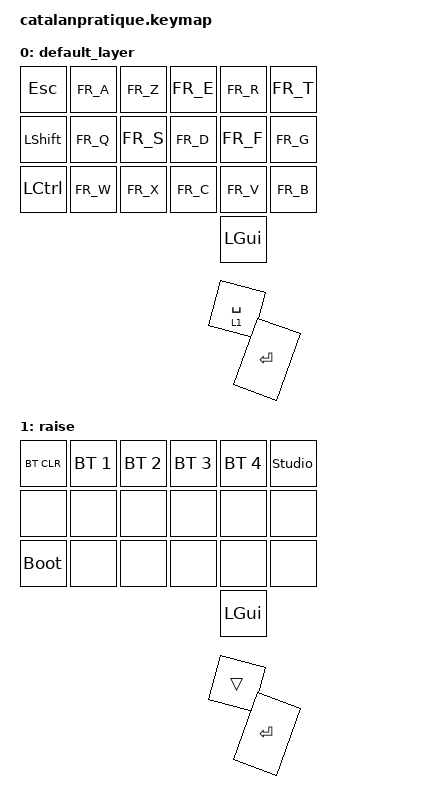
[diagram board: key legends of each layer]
// This file was generated from a template. Edit it to match your keyboard.
// See https://zmk.dev/docs/development/hardware-integration/new-shield for more instructions.

#include <behaviors.dtsi>
#include <dt-bindings/zmk/keys.h>
#include <dt-bindings/zmk/bt.h>
#include "keys_fr.h"

/ {
    // Define a default keymap here.
    // See https://zmk.dev/docs/development/hardware-integration/new-shield#default-keymap.
    keymap {
        compatible = "zmk,keymap";

        default_layer {
            bindings = <
                &kp ESCAPE      &kp FR_A   &kp FR_Z   &kp FR_E   &kp FR_R      &kp FR_T        
                &kp LSHIFT      &kp FR_Q   &kp FR_S   &kp FR_D   &kp FR_F      &kp FR_G        
                &kp LCTRL       &kp FR_W   &kp FR_X   &kp FR_C   &kp FR_V      &kp FR_B        
                                                      &kp LGUI   &lt 1 SPACE   &kp ENTER 
            >;
        };
         raise {
            bindings = <
                &bt BT_CLR  &bt BT_SEL 1   &bt BT_SEL 2   &bt BT_SEL 3      &bt BT_SEL 4         &studio_unlock        
                &none       &none          &none          &none             &none                &none        
                &bootloader &none          &none          &none             &none                &none        
                                                          &kp LGUI          &trans               &kp ENTER 
            >;
        };
         extra2 {
            status = "reserved";
        };
         extra3 {
            status = "reserved";
        };
         extra4 {
            status = "reserved";
        };
    };
};
